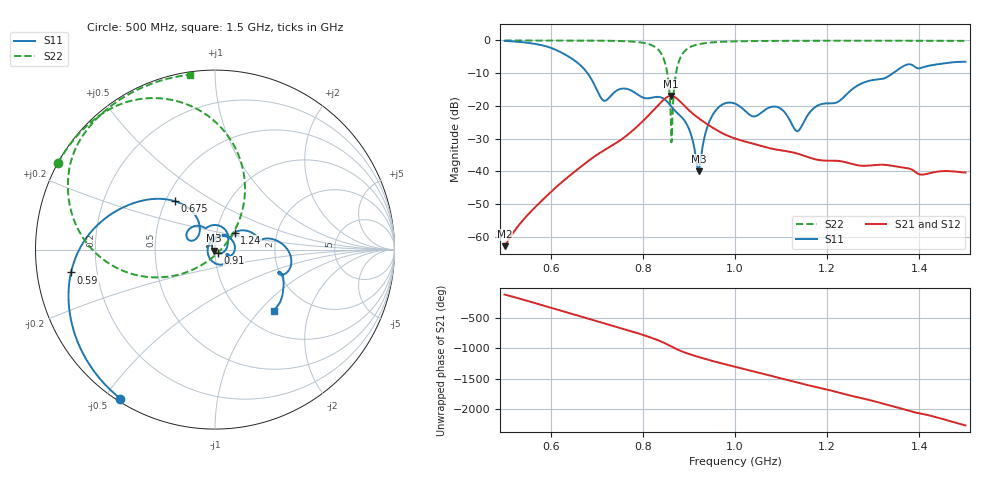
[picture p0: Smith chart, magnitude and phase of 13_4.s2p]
! TOUCHSTONE file generated by CST MICROWAVE STUDIO
! Date and time: Fri Oct  2 16:55:45 2020
! Project name: Scenario_1_Free_Space_out_of_line.cst
! Parameters = {Lambda=346.42; Step_1=17.321; dy1=139.548; dx1=693; L_HA=400; MT=2.54; Rad_Dielectric=30; Rad_Lower=7.3; Rad_Upper=30; a_HA=580; a_WG=246; b_HA=500; b_WG=121; c_HA=0; c_WG=187; d_feed=85; h_feed=15; h_lower=18; h_upper=40}
! Header version: 2018
! Port assignment regex: !\s*Touchstone port\s*([0-9]+)\s*=\s*(CST MWS port|CST DS port)\s*([0-9]+|Zmin|Zmax)\s*\(\"(.*)\"\)(\s*mode\s*([0-9]+))?.*
! Touchstone port assignment:
! Touchstone port 1 = CST MWS port 1 ("")
! Touchstone port 2 = CST MWS port 2 ("")
# GHz S DB R 50
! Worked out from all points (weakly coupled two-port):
!   1003 points, 500 MHz to 1.5 GHz, reference 50 ohm
!   highest |S21| = -16.98 dB at 861 MHz (marker M1); lowest = -62.9 dB at 500 MHz (marker M2)
!   lowest |S11| = -40.0 dB at 921 MHz (marker M3), VSWR 1.02, Z = 49.2 - j0.55 ohm
!   |S11| at or under -10 dB: 679.8 MHz to 1.343 GHz (663.1 MHz wide, 65.6 % of centre)
!   |S22| runs from -31.2 to 0.0 dB; largest |S21 - S12| = 4.6e-05
!   S11 on the Smith chart (normalised r, x): 500 MHz: 0.01, -0.55; 590 MHz: 0.10, -0.08; 675 MHz: 0.56, +0.34; 910 MHz: 1.03, -0.04; 1.24 GHz: 1.22, +0.24; 1.5 GHz: 1.37, -1.20
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0.5  -0.15 -122.4  -62.92 -120.6  -62.92 -120.6  -0.01 151.1
0.59  -1.81 -171.0  -47.74 47.5  -47.74 47.5  -0.02 144.9
0.667  -7.92 135.5  -38.47 -122.9  -38.47 -122.9  -0.04 138.4
0.675  -9.14 129.6  -37.59 -140.8  -37.59 -140.8  -0.05 137.6
0.715  -18.40 140.8  -33.67 128.1  -33.67 128.1  -0.09 133.0
0.788  -16.48 120.3  -26.28 -31.8  -26.28 -31.8  -0.48 118.4
0.834  -17.27 87.4  -19.71 -151.5  -19.71 -151.5  -2.91 90.2
0.85  -18.33 59.4  -17.58 155.1  -17.58 155.1  -7.87 65.7
0.861  -20.08 41.6  -16.98 113.2  -16.98 113.2  -25.21 21.7
0.865  -20.77 36.3  -17.06 97.7  -17.06 97.7  -20.63 -126.8
0.879  -22.72 18.0  -18.41 47.4  -18.41 47.4  -6.13 -164.5
0.91  -31.71 -52.2  -22.57 -36.7  -22.57 -36.7  -1.59 164.7
0.921  -39.97 -146.1  -23.77 -62.2  -23.77 -62.2  -1.17 159.3
0.952  -22.67 75.6  -26.73 -129.1  -26.73 -129.1  -0.58 149.6
1  -19.33 -5.7  -30.00 138.3  -30.00 138.3  -0.27 140.8
1.04  -23.24 -23.0  -31.63 62.2  -31.63 62.2  -0.19 135.8
1.094  -20.47 -58.5  -33.48 -39.2  -33.48 -39.2  -0.13 130.5
1.135  -27.76 173.9  -34.59 -119.1  -34.59 -119.1  -0.11 127.0
1.167  -21.24 69.3  -36.08 -178.7  -36.08 -178.7  -0.10 124.4
1.24  -16.80 40.7  -37.25 46.5  -37.25 46.5  -0.09 118.8
1.334  -10.86 12.4  -38.19 -131.8  -38.19 -131.8  -0.09 111.6
1.5  -6.53 -46.0  -40.42 -102.2  -40.38 -102.3  -0.14 98.1
